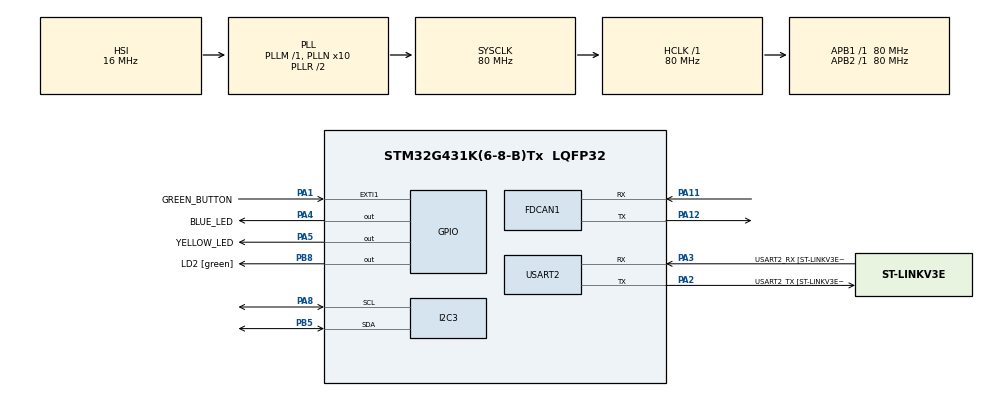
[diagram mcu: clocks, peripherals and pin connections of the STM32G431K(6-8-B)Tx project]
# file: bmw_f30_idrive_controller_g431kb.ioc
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ADC1.Channel-0\#ChannelRegularConversion=ADC_CHANNEL_TEMPSENSOR_ADC1
ADC1.Channel-1\#ChannelRegularConversion=ADC_CHANNEL_VREFINT
ADC1.ContinuousConvMode=ENABLE
ADC1.DMAContinuousRequests=ENABLE
ADC1.ExternalTrigConv=ADC_EXTERNALTRIG_T3_TRGO
ADC1.NbrOfConversion=2
ADC1.NbrOfConversionFlag=1
ADC1.OffsetNumber-0\#ChannelRegularConversion=ADC_OFFSET_NONE
ADC1.OffsetNumber-1\#ChannelRegularConversion=ADC_OFFSET_NONE
ADC1.Rank-0\#ChannelRegularConversion=1
ADC1.Rank-1\#ChannelRegularConversion=2
ADC1.SamplingTime-0\#ChannelRegularConversion=ADC_SAMPLETIME_640CYCLES_5
ADC1.SamplingTime-1\#ChannelRegularConversion=ADC_SAMPLETIME_640CYCLES_5
ADC1.master=1
Dma.ADC1.0.Direction=DMA_PERIPH_TO_MEMORY
Dma.ADC1.0.EventEnable=DISABLE
Dma.ADC1.0.Instance=DMA1_Channel1
Dma.ADC1.0.MemDataAlignment=DMA_MDATAALIGN_HALFWORD
Dma.ADC1.0.MemInc=DMA_MINC_ENABLE
Dma.ADC1.0.Mode=DMA_CIRCULAR
Dma.ADC1.0.PeriphDataAlignment=DMA_PDATAALIGN_HALFWORD
Dma.ADC1.0.PeriphInc=DMA_PINC_DISABLE
Dma.ADC1.0.Polarity=HAL_DMAMUX_REQ_GEN_RISING
Dma.ADC1.0.Priority=DMA_PRIORITY_LOW
Dma.ADC1.0.RequestNumber=1
Dma.ADC1.0.SignalID=NONE
Dma.ADC1.0.SyncEnable=DISABLE
Dma.ADC1.0.SyncPolarity=HAL_DMAMUX_SYNC_NO_EVENT
Dma.ADC1.0.SyncRequestNumber=1
Dma.ADC1.0.SyncSignalID=NONE
Dma.Request0=ADC1
FDCAN1.AutoRetransmission=ENABLE
FDCAN1.CalculateBaudRateNominal=100000
FDCAN1.CalculateTimeBitNominal=10000
FDCAN1.CalculateTimeQuantumNominal=500.0
FDCAN1.ClockDivider=FDCAN_CLOCK_DIV1
FDCAN1.DataPrescaler=10
FDCAN1.DataSyncJumpWidth=2
FDCAN1.DataTimeSeg1=16
FDCAN1.DataTimeSeg2=3
FDCAN1.NominalPrescaler=40
FDCAN1.NominalSyncJumpWidth=2
FDCAN1.NominalTimeSeg1=16
FDCAN1.NominalTimeSeg2=3
FDCAN1.StdFiltersNbr=3
I2C3.Timing=0x10D19CE4
Mcu.Family=STM32G4
Mcu.Name=STM32G431K(6-8-B)Tx
Mcu.Package=LQFP32
NVIC.ADC1_2_IRQn=true\:0\:0\:false\:false\:true\:true\:true\:true
NVIC.DMA1_Channel1_IRQn=true\:0\:0\:false\:false\:true\:false\:true\:true
NVIC.EXTI1_IRQn=true\:0\:0\:false\:false\:true\:true\:true\:true
NVIC.FDCAN1_IT0_IRQn=true\:0\:0\:false\:false\:true\:true\:true\:true
NVIC.FDCAN1_IT1_IRQn=true\:0\:0\:false\:false\:true\:true\:true\:true
NVIC.PriorityGroup=NVIC_PRIORITYGROUP_4
PA1.GPIO_Label=GREEN_BUTTON
PA1.GPIO_ModeDefaultEXTI=GPIO_MODE_IT_FALLING
PA1.GPIO_PuPd=GPIO_PULLUP
PA1.Signal=GPXTI1
PA11.Mode=FDCAN_Activate
PA11.Signal=FDCAN1_RX
PA12.Mode=FDCAN_Activate
PA12.Signal=FDCAN1_TX
PA13.GPIO_Label=T_SWDIO
PA13.Mode=Serial_Wire
PA13.Signal=SYS_JTMS-SWDIO
PA14.GPIO_Label=T_SWCLK
PA14.Mode=Serial_Wire
PA14.Signal=SYS_JTCK-SWCLK
PA2.GPIO_Label=USART2_TX [ST-LINKV3E_VCP_RX]
PA2.Mode=Asynchronous
PA2.Signal=USART2_TX
PA3.GPIO_Label=USART2_RX [ST-LINKV3E_VCP_TX]
PA3.Mode=Asynchronous
PA3.Signal=USART2_RX
PA4.GPIO_Label=BLUE_LED
PA4.Signal=GPIO_Output
PA5.GPIO_Label=YELLOW_LED
PA5.Signal=GPIO_Output
PA8.Mode=I2C
PA8.Signal=I2C3_SCL
PB3.GPIO_Label=T_SWO
PB3.Signal=SYS_JTDO-SWO
PB5.Mode=I2C
PB5.Signal=I2C3_SDA
PB8-BOOT0.GPIO_Label=LD2 [green]
PB8-BOOT0.Signal=GPIO_Output
ProjectManager.HeapSize=0x200
ProjectManager.StackSize=0x400
ProjectManager.TargetToolchain=STM32CubeIDE
RCC.ADC12Freq_Value=80000000
RCC.AHBFreq_Value=80000000
RCC.APB1Freq_Value=80000000
RCC.APB1TimFreq_Value=80000000
RCC.APB2Freq_Value=80000000
RCC.APB2TimFreq_Value=80000000
RCC.CK48CLockSelection=RCC_USBCLKSOURCE_HSI48
RCC.CortexFreq_Value=80000000
RCC.EXTERNAL_CLOCK_VALUE=12288000
RCC.HCLKFreq_Value=80000000
RCC.HSE_VALUE=8000000
RCC.HSI48_VALUE=48000000
RCC.HSI_VALUE=16000000
RCC.LSE_VALUE=32768
RCC.PLLN=10
RCC.PLLQ=RCC_PLLQ_DIV4
RCC.SYSCLKFreq_VALUE=80000000
RCC.SYSCLKSource=RCC_SYSCLKSOURCE_PLLCLK
RCC.USBFreq_Value=48000000
RCC.VCOOutputFreq_Value=160000000
TIM3.PeriodNoDither=10000-1
TIM3.Prescaler=500-1
TIM3.TIM_MasterOutputTrigger=TIM_TRGO_UPDATE
USART2.VirtualMode-Asynchronous=VM_ASYNC
USART2.WordLength=WORDLENGTH_8B
VP_ADC1_TempSens_Input.Mode=IN-TempSens
VP_ADC1_Vref_Input.Mode=IN-Vrefint
VP_SYS_VS_DBSignals.Mode=DisableDeadBatterySignals
VP_TIM3_VS_ClockSourceINT.Mode=Internal
board=NUCLEO-G431KB

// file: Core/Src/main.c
/* USER CODE BEGIN Header */
/**
 ******************************************************************************
 * @file           : main.c
 * @brief          : Main program body
 ******************************************************************************
 * @attention
 *
 * Copyright (c) 2025 STMicroelectronics.
 * All rights reserved.
 *
 * This software is licensed under terms that can be found in the LICENSE file
 * in the root directory of this software component.
 * If no LICENSE file comes with this software, it is provided AS-IS.
 *
 ******************************************************************************
 */
/* USER CODE END Header */
#include "main.h"
#include "adc.h"
#include "dma.h"
#include "fdcan.h"
#include "i2c.h"
#include "tim.h"
#include "usart.h"
#include "gpio.h"

/* USER CODE BEGIN Includes */
#include <stdio.h>
#include <string.h>
#include "ssd1306.h"
#include "bmw_idrive.h"
/* USER CODE END Includes */

/* USER CODE BEGIN PD */
#define CAN_MSG_TIME_SPACING 5
#define OLED_REFRESH_PERIOD 200
/* USER CODE END PD */

/* USER CODE BEGIN PV */
FDCAN_RxHeaderTypeDef rxHeader;
uint8_t rxData[8];
uint8_t rxDataKnob[8];

FDCAN_RxHeaderTypeDef rxHeaderButtons;
uint8_t rxDataButtons[8];

extern FDCAN_TxHeaderTypeDef TxHeader;

uint32_t SoftwareTimer1000;
uint32_t OledSoftwareTimer;

char lcd_line[32];

uint8_t welcome_message_flag = 0;
uint8_t already_sent_flag = 0;
uint8_t init_ok_flag = 0;
/* USER CODE END PV */

void SystemClock_Config(void);

int main(void)
{

	/* MCU Configuration--------------------------------------------------------*/

	/* Reset of all peripherals, Initializes the Flash interface and the Systick. */
	HAL_Init();

	/* Configure the system clock */
	SystemClock_Config();

	/* Initialize all configured peripherals */
	MX_GPIO_Init();
	MX_DMA_Init();
	MX_USART2_UART_Init();
	MX_FDCAN1_Init();
	MX_I2C3_Init();
	MX_ADC1_Init();
	MX_TIM3_Init();
	/* USER CODE BEGIN 2 */
	ssd1306_Init();
	ssd1306_Fill(Black);
	ssd1306_SetCursor(20, 0);
	ssd1306_WriteString("ufnalski.edu.pl", Font_6x8, White);
	ssd1306_SetCursor(10, 12);
	ssd1306_WriteString("BMW F30/F31 (2012+)", Font_6x8, White);
	ssd1306_SetCursor(12, 22);
	ssd1306_WriteString("iDrive controller", Font_6x8, White);
	ssd1306_UpdateScreen();

	HAL_FDCAN_ConfigGlobalFilter(&hfdcan1, FDCAN_REJECT, FDCAN_REJECT,
	FDCAN_REJECT_REMOTE, FDCAN_REJECT_REMOTE);

	if (HAL_FDCAN_Start(&hfdcan1) != HAL_OK)
	{
		Error_Handler();
	}

	// rotary knob
	if (HAL_FDCAN_ActivateNotification(&hfdcan1, FDCAN_IT_RX_FIFO0_NEW_MESSAGE,
			0) != HAL_OK)
	{
		/* Notification Error */
		Error_Handler();
	}

	// buttons
	if (HAL_FDCAN_ActivateNotification(&hfdcan1, FDCAN_IT_RX_FIFO1_NEW_MESSAGE,
			0) != HAL_OK)
	{
		/* Notification Error */
		Error_Handler();
	}

	TxHeader.IdType = FDCAN_STANDARD_ID;
	TxHeader.TxFrameType = FDCAN_DATA_FRAME;
	TxHeader.ErrorStateIndicator = FDCAN_ESI_ACTIVE;
	TxHeader.BitRateSwitch = FDCAN_BRS_OFF;
	TxHeader.FDFormat = FDCAN_CLASSIC_CAN;
	TxHeader.TxEventFifoControl = FDCAN_NO_TX_EVENTS;
	TxHeader.MessageMarker = 0;

	SoftwareTimer1000 = HAL_GetTick();
	OledSoftwareTimer = HAL_GetTick();

	send_wake_up(CAN_MSG_TIME_SPACING);
	send_wake_up(CAN_MSG_TIME_SPACING);

	/* USER CODE END 2 */

	/* Infinite loop */
	/* USER CODE BEGIN WHILE */
	while (1)
	{

		if (HAL_GetTick() - SoftwareTimer1000 > 1000)
		{
			SoftwareTimer1000 = HAL_GetTick();
			send_keep_active(CAN_MSG_TIME_SPACING);
		}

		if ((welcome_message_flag == 1) && (already_sent_flag != 1))
		{
			already_sent_flag = 1;
			send_init(CAN_MSG_TIME_SPACING);
		}

		if (HAL_GetTick() - OledSoftwareTimer > OLED_REFRESH_PERIOD)
		{
			OledSoftwareTimer = HAL_GetTick();

			ssd1306_SetCursor(2, 36);
			if (init_ok_flag == 1)
			{
				ssd1306_WriteString("Init OK :)    ", Font_6x8, White);
			}
			else
			{
				ssd1306_WriteString("Init not OK!!!", Font_6x8, White);
			}
			sprintf(lcd_line, "K: %02X %02X %02X %02X %02X %02X", rxDataKnob[0],
					rxDataKnob[1], rxDataKnob[2], rxDataKnob[3], rxDataKnob[4],
					rxDataKnob[5]);
			ssd1306_SetCursor(2, 46);
			ssd1306_WriteString(lcd_line, Font_6x8, White);
			sprintf(lcd_line, "B: %02X %02X %02X %02X %02X %02X",
					rxDataButtons[0], rxDataButtons[1], rxDataButtons[2],
					rxDataButtons[3], rxDataButtons[4], rxDataButtons[5]);
			ssd1306_SetCursor(2, 56);
			ssd1306_WriteString(lcd_line, Font_6x8, White);
			ssd1306_UpdateScreen();
		}
		/* USER CODE END WHILE */

	}
}

void SystemClock_Config(void)
{
	RCC_OscInitTypeDef RCC_OscInitStruct =
	{ 0 };
	RCC_ClkInitTypeDef RCC_ClkInitStruct =
	{ 0 };

	/** Configure the main internal regulator output voltage
	 */
	HAL_PWREx_ControlVoltageScaling(PWR_REGULATOR_VOLTAGE_SCALE1);

	/** Initializes the RCC Oscillators according to the specified parameters
	 * in the RCC_OscInitTypeDef structure.
	 */
	RCC_OscInitStruct.OscillatorType = RCC_OSCILLATORTYPE_HSI;
	RCC_OscInitStruct.HSIState = RCC_HSI_ON;
	RCC_OscInitStruct.HSICalibrationValue = RCC_HSICALIBRATION_DEFAULT;
	RCC_OscInitStruct.PLL.PLLState = RCC_PLL_ON;
	RCC_OscInitStruct.PLL.PLLSource = RCC_PLLSOURCE_HSI;
	RCC_OscInitStruct.PLL.PLLM = RCC_PLLM_DIV1;
	RCC_OscInitStruct.PLL.PLLN = 10;
	RCC_OscInitStruct.PLL.PLLP = RCC_PLLP_DIV2;
	RCC_OscInitStruct.PLL.PLLQ = RCC_PLLQ_DIV4;
	RCC_OscInitStruct.PLL.PLLR = RCC_PLLR_DIV2;
	if (HAL_RCC_OscConfig(&RCC_OscInitStruct) != HAL_OK)
	{
		Error_Handler();
	}

	/** Initializes the CPU, AHB and APB buses clocks
	 */
	RCC_ClkInitStruct.ClockType = RCC_CLOCKTYPE_HCLK | RCC_CLOCKTYPE_SYSCLK
			| RCC_CLOCKTYPE_PCLK1 | RCC_CLOCKTYPE_PCLK2;
	RCC_ClkInitStruct.SYSCLKSource = RCC_SYSCLKSOURCE_PLLCLK;
	RCC_ClkInitStruct.AHBCLKDivider = RCC_SYSCLK_DIV1;
	RCC_ClkInitStruct.APB1CLKDivider = RCC_HCLK_DIV1;
	RCC_ClkInitStruct.APB2CLKDivider = RCC_HCLK_DIV1;

	if (HAL_RCC_ClockConfig(&RCC_ClkInitStruct, FLASH_LATENCY_2) != HAL_OK)
	{
		Error_Handler();
	}
}

/* USER CODE BEGIN 4 */
void HAL_FDCAN_RxFifo0Callback(FDCAN_HandleTypeDef *hfdcan, uint32_t RxFifo0ITs)
{
	if ((RxFifo0ITs & FDCAN_IT_RX_FIFO0_NEW_MESSAGE) != RESET)
	{
		/* Retreive Rx messages from RX FIFO0 */
		if (HAL_FDCAN_GetRxMessage(hfdcan, FDCAN_RX_FIFO0, &rxHeader, rxData)
				!= HAL_OK)
		{
			/* Reception Error */
			Error_Handler();
		}
		else
		{
			if (rxHeader.Identifier == 0x5E7)
			{
				welcome_message_flag = 1;
				if (rxData[4] == 0x01)
				{
					init_ok_flag = 1;
				}
				else
				{
					init_ok_flag = 0;
				}
			}
			else
			{
				memcpy(rxDataKnob, rxData, 8);
			}
			HAL_GPIO_TogglePin(BLUE_LED_GPIO_Port, BLUE_LED_Pin);
		}

		if (HAL_FDCAN_ActivateNotification(hfdcan,
		FDCAN_IT_RX_FIFO0_NEW_MESSAGE, 0) != HAL_OK)
		{
			/* Notification Error */
			Error_Handler();
		}
	}
}

void HAL_FDCAN_RxFifo1Callback(FDCAN_HandleTypeDef *hfdcan, uint32_t RxFifo1ITs)
{
	if ((RxFifo1ITs & FDCAN_IT_RX_FIFO1_NEW_MESSAGE) != RESET)
	{
		/* Retreive Rx messages from RX FIFO0 */
		if (HAL_FDCAN_GetRxMessage(hfdcan, FDCAN_RX_FIFO1, &rxHeaderButtons,
				rxDataButtons) != HAL_OK)
		{
			/* Reception Error */
			Error_Handler();
		}
		else
		{
			HAL_GPIO_TogglePin(YELLOW_LED_GPIO_Port, YELLOW_LED_Pin);
		}

		if (HAL_FDCAN_ActivateNotification(hfdcan,
		FDCAN_IT_RX_FIFO1_NEW_MESSAGE, 0) != HAL_OK)
		{
			/* Notification Error */
			Error_Handler();
		}
	}
}
/* USER CODE END 4 */

void Error_Handler(void)
{
	__disable_irq();
	while (1)
	{
	}
}
